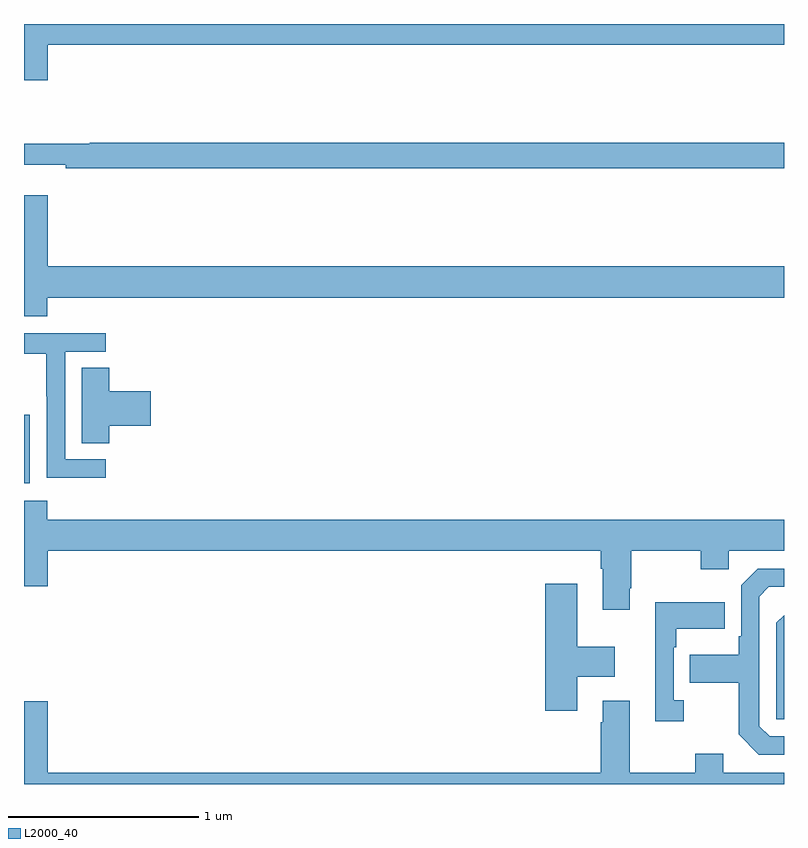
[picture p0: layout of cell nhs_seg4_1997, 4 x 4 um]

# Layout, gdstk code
import gdstk
lib = gdstk.Library(unit=1e-6, precision=1e-09)
def R(c, l, rs):  # rectangles x0, y0, x1, y1
    for r in rs: c.add(gdstk.rectangle(r[:2], r[2:], *l))
def P(c, l, *ps):  # polygons
    for p in ps: c.add(gdstk.Polygon(p, *l))
L2000_40 = (2000, 40)

nhs_seg4_1997 = lib.new_cell('nhs_seg4_1997')
R(nhs_seg4_1997, L2000_40, [(213,822.482,213.031,822.843)])
P(nhs_seg4_1997, L2000_40, [(213.124,824.792),(217,824.792),(217,824.9),(213,824.9),(213,824.604),(213.124,824.604)],
  [(217,824.276),(213.347,824.276),(213.347,824.269),(213,824.269),(213,824.159),(213.22,824.159),(213.22,824.14),(217,824.14)],
  [(213.122,823.46),(217,823.46),(217,823.624),(213.124,823.624),(213.124,823.999),(213,823.999),(213,823.361),(213.122,823.361)],
  [(213.43,822.609),(213.216,822.609),(213.216,823.176),(213.43,823.176),(213.43,823.272),(213,823.272),(213,823.164),(213.118,823.164),(213.118,822.94),(213.12,822.94),(213.12,822.511),(213.43,822.511)],
  [(213.449,822.785),(213.667,822.785),(213.667,822.968),(213.449,822.968),(213.449,823.091),(213.305,823.091),(213.305,822.694),(213.449,822.694)],
  [(216.187,821.929),(216.195,821.929),(216.195,822.128),(216.562,822.128),(216.562,822.029),(216.708,822.029),(216.708,822.128),(217,822.128),(217,822.292),(213.122,822.292),(213.122,822.391),(213,822.391),(213,821.94),(213.124,821.94),(213.124,822.128),(216.035,822.128),(216.035,822.032),(216.047,822.032),(216.047,821.817),(216.187,821.817)],
  [(217,821.151),(216.924,821.151),(216.87,821.205),(216.87,821.886),(216.921,821.937),(217,821.937),(217,822.033),(216.861,822.033),(216.774,821.946),(216.774,821.677),(216.762,821.677),(216.762,821.581),(216.505,821.581),(216.505,821.434),(216.762,821.434),(216.762,821.161),(216.867,821.055),(217,821.055)],
  [(215.911,821.465),(216.109,821.465),(216.109,821.623),(215.911,821.623),(215.911,821.953),(215.744,821.953),(215.744,821.286),(215.911,821.286)],
  [(216.472,821.342),(216.42,821.342),(216.42,821.621),(216.433,821.621),(216.433,821.717),(216.689,821.717),(216.689,821.857),(216.323,821.857),(216.323,821.229),(216.472,821.229)],
  [(217,821.788),(216.96,821.748),(216.96,821.241),(217,821.241)],
  [(213.124,821.335),(213,821.335),(213,820.9),(217,820.9),(217,820.96),(216.679,820.96),(216.679,821.059),(216.532,821.059),(216.532,820.96),(216.187,820.96),(216.187,821.338),(216.047,821.338),(216.047,821.225),(216.035,821.225),(216.035,820.96),(213.124,820.96)])

lib.write_gds('nhs_seg4_1997.gds')
